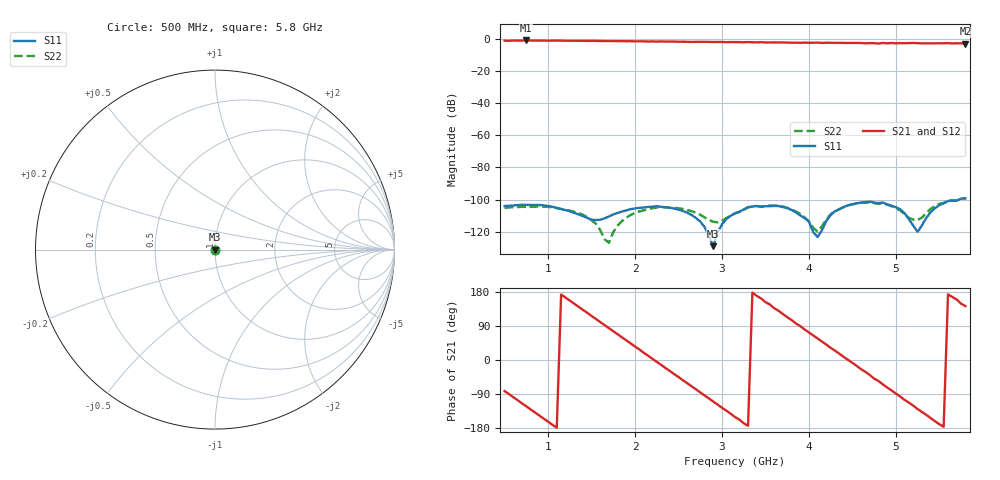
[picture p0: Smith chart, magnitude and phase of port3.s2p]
# GHZ S RI R 50
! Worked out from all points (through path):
!   107 points, 500 MHz to 5.8 GHz, reference 50 ohm
!   highest |S21| = -1.03 dB at 750 MHz (marker M1); lowest = -3.0 dB at 5.8 GHz (marker M2)
!   group delay of S21, straight-line fit = 448 ps
!   lowest |S11| = -129.0 dB at 2.9 GHz (marker M3), VSWR 1.00, Z = 50 - j9.72e-06 ohm
!   |S11| at or under -10 dB: start of sweep to end of sweep
!   |S22| runs from -126.9 to -99.3 dB; largest |S21 - S12| = 0.015
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0.5  5.3e-06 -3.4e-06  0.1221 -0.871  0.1225 -0.8705  5.43e-06 -1.17e-06
0.75  1.38e-06 -6.72e-06  -0.4728 -0.7515  -0.4723 -0.7514  4.42e-06 -4.01e-06
1.1  -3.85e-06 -3.99e-06  -0.8795 -0.0181  -0.8789 -0.0186  8.45e-08 -5.41e-06
1.4  -2.86e-06 -1.1e-06  -0.5846 0.6391  -0.585 0.6402  -2.31e-06 -2.46e-06
1.6  -1.69e-06 -1.65e-06  -0.1507 0.8387  -0.1529 0.8382  -9.67e-07 -5.8e-07
1.8  -2.5e-06 -2.91e-06  0.3158 0.7813  0.3166 0.7795  1.23e-06 -9.53e-07
2.1  -5.39e-06 -1.77e-06  0.7872 0.2722  0.7867 0.2718  8.58e-07 -4.54e-06
2.3  -5.94e-06 9.08e-07  0.8082 -0.1822  0.8084 -0.1786  -2.12e-06 -5.39e-06
2.6  -2.37e-06 3.12e-06  0.3889 -0.7057  0.3886 -0.7048  -4.37e-06 -1.78e-06
2.9  -3.42e-07 -9.72e-08  -0.2676 -0.7471  -0.2661 -0.7481  -1.92e-06 -6.75e-07
3.15  -3.06e-06 -2.12e-06  -0.6866 -0.3883  -0.6862 -0.3936  -2.24e-06 -3e-06
3.3  -5.77e-06 -6.14e-07  -0.7837 -0.0873  -0.7855 -0.0812  -4.81e-06 -3.09e-06
3.55  -5.18e-06 3.46e-06  -0.6413 0.4235  -0.6348 0.4296  -6.48e-06 6.11e-07
3.75  -2.42e-06 4.88e-06  -0.3002 0.7035  -0.2975 0.7074  -4.85e-06 2.78e-06
4.05  -2.57e-07 9.39e-07  0.3203 0.6822  0.3216 0.6813  -9.98e-07 8.56e-07
4.25  -3.25e-06 -5.05e-07  0.6359 0.4  0.6369 0.4017  -3.03e-06 -1.76e-06
4.5  -6.55e-06 2.95e-06  0.7372 -0.0975  0.7404 -0.1013  -7.12e-06 -9.72e-08
4.7  -4.98e-06 7.1e-06  0.5683 -0.4675  0.5681 -0.4698  -7.29e-06 3.91e-06
4.95  1.6e-06 6.28e-06  0.1257 -0.7286  0.1265 -0.729  -2.65e-06 5.62e-06
5.2  1.56e-06 6.36e-10  -0.3768 -0.6387  -0.3803 -0.635  -1.6e-06 1.76e-06
5.45  -5.38e-06 -1.44e-07  -0.6862 -0.2306  -0.6847 -0.2284  -6.09e-06 1.4e-06
5.8  -4.61e-06 9.86e-06  -0.5609 0.4324  -0.5519 0.4394  -5.38e-06 9.33e-06
